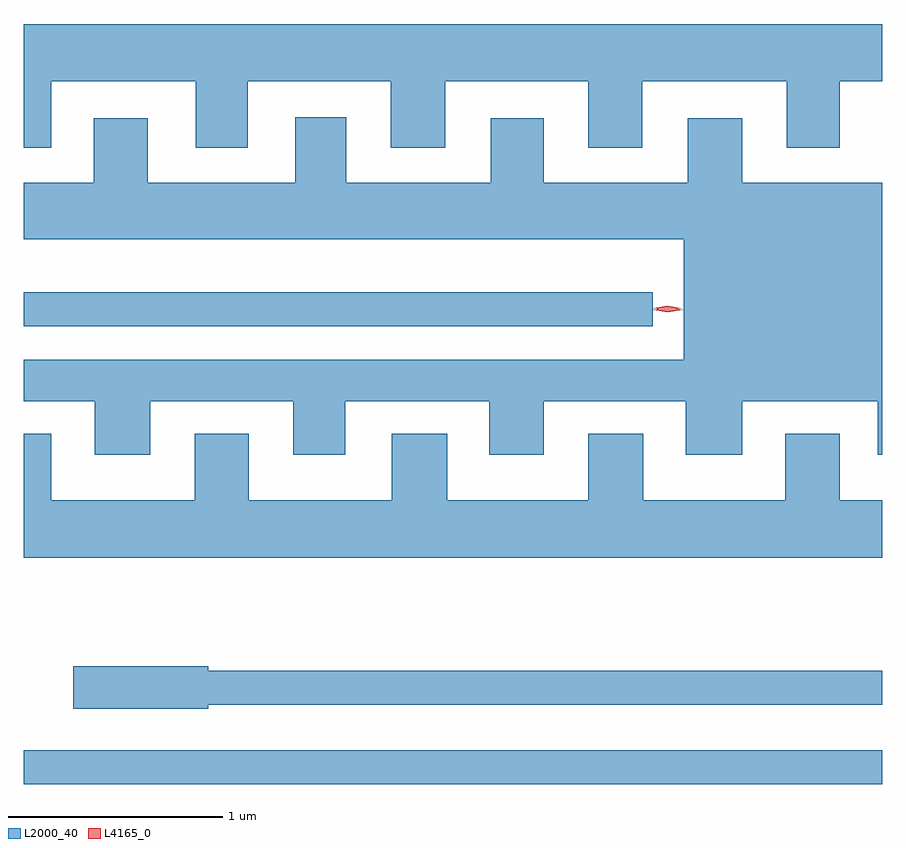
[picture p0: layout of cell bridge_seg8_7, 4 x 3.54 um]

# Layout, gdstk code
import gdstk
lib = gdstk.Library(unit=1e-6, precision=1e-09)
def R(c, l, rs):  # rectangles x0, y0, x1, y1
    for r in rs: c.add(gdstk.rectangle(r[:2], r[2:], *l))
def P(c, l, *ps):  # polygons
    for p in ps: c.add(gdstk.Polygon(p, *l))
L2000_40 = (2000, 40)
L4165_0 = (4165, 0)

bridge_seg8_7 = lib.new_cell('bridge_seg8_7')
R(bridge_seg8_7, L2000_40, [(1675.796,1933.041,1679.796,1933.199), (1675.796,1935.176,1678.728,1935.334)])
P(bridge_seg8_7, L2000_40, [(1675.924,1936.316),(1676.596,1936.316),(1676.596,1936.006),(1676.839,1936.006),(1676.839,1936.316),(1677.506,1936.316),(1677.506,1936.006),(1677.759,1936.006),(1677.759,1936.316),(1678.426,1936.316),(1678.426,1936.006),(1678.679,1936.006),(1678.679,1936.316),(1679.351,1936.316),(1679.351,1936.006),(1679.599,1936.006),(1679.599,1936.316),(1679.796,1936.316),(1679.796,1936.584),(1675.796,1936.584),(1675.796,1936.006),(1675.924,1936.006)],
  [(1676.384,1934.826),(1677.051,1934.826),(1677.051,1934.576),(1677.294,1934.576),(1677.294,1934.826),(1677.966,1934.826),(1677.966,1934.576),(1678.219,1934.576),(1678.219,1934.826),(1678.881,1934.826),(1678.881,1934.576),(1679.144,1934.576),(1679.144,1934.826),(1679.776,1934.826),(1679.776,1934.576),(1679.796,1934.576),(1679.796,1935.844),(1679.144,1935.844),(1679.144,1936.144),(1678.891,1936.144),(1678.891,1935.844),(1678.219,1935.844),(1678.219,1936.144),(1677.971,1936.144),(1677.971,1935.844),(1677.299,1935.844),(1677.299,1936.149),(1677.061,1936.149),(1677.061,1935.844),(1676.374,1935.844),(1676.374,1936.144),(1676.121,1936.144),(1676.121,1935.844),(1675.796,1935.844),(1675.796,1935.581),(1678.871,1935.581),(1678.871,1935.019),(1675.796,1935.019),(1675.796,1934.826),(1676.126,1934.826),(1676.126,1934.576),(1676.384,1934.576)],
  [(1679.796,1934.364),(1679.599,1934.364),(1679.599,1934.674),(1679.346,1934.674),(1679.346,1934.364),(1678.684,1934.364),(1678.684,1934.674),(1678.426,1934.674),(1678.426,1934.364),(1677.769,1934.364),(1677.769,1934.674),(1677.511,1934.674),(1677.511,1934.364),(1676.844,1934.364),(1676.844,1934.674),(1676.591,1934.674),(1676.591,1934.364),(1675.924,1934.364),(1675.924,1934.674),(1675.796,1934.674),(1675.796,1934.096),(1679.796,1934.096)],
  [(1676.654,1933.411),(1679.796,1933.411),(1679.796,1933.569),(1676.654,1933.569),(1676.654,1933.589),(1676.026,1933.589),(1676.026,1933.391),(1676.654,1933.391)])
P(bridge_seg8_7, L4165_0, [(1678.798,1935.241),(1678.73,1935.251),(1678.73,1935.251),(1678.73,1935.252),(1678.799,1935.261),(1678.867,1935.252),(1678.868,1935.251),(1678.867,1935.251)],
  [(1678.795,1935.25),(1678.733,1935.259),(1678.733,1935.259),(1678.733,1935.26),(1678.795,1935.27),(1678.857,1935.26),(1678.858,1935.26),(1678.857,1935.259)])

lib.write_gds('bridge_seg8_7.gds')
